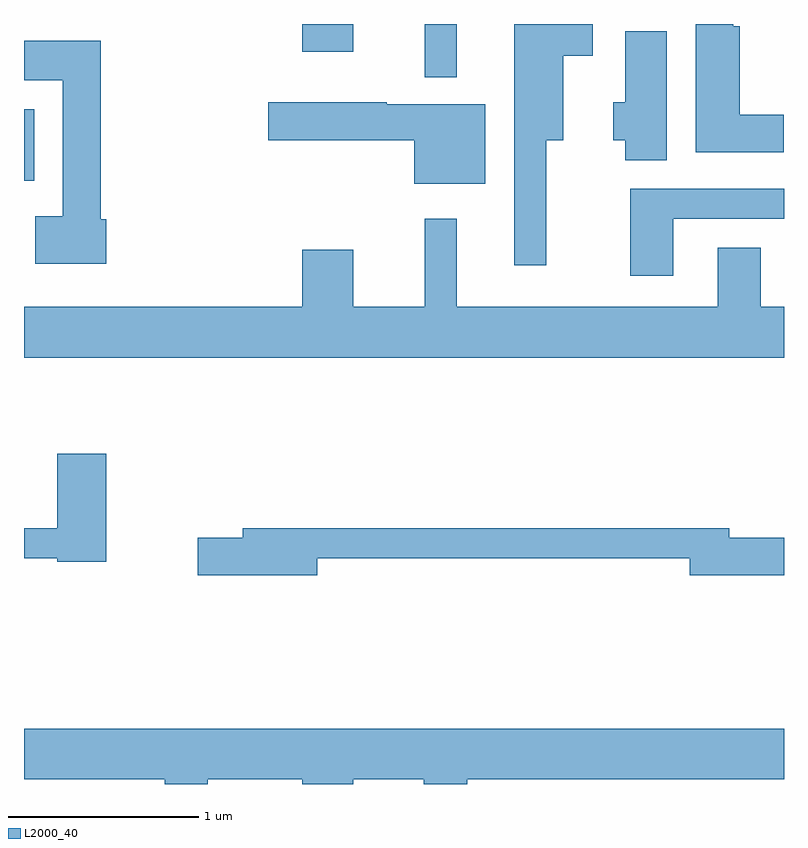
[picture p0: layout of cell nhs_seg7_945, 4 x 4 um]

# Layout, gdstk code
import gdstk
lib = gdstk.Library(unit=1e-6, precision=1e-09)
def R(c, l, rs):  # rectangles x0, y0, x1, y1
    for r in rs: c.add(gdstk.rectangle(r[:2], r[2:], *l))
def P(c, l, *ps):  # polygons
    for p in ps: c.add(gdstk.Polygon(p, *l))
L2000_40 = (2000, 40)

nhs_seg7_945 = lib.new_cell('nhs_seg7_945')
R(nhs_seg7_945, L2000_40, [(213.611,1757.426,213.664,1757.804), (215.721,1757.973,215.889,1758.252), (215.076,1758.106,215.344,1758.252)])
P(nhs_seg7_945, L2000_40, [(216.359,1757.641),(216.449,1757.641),(216.449,1758.086),(216.604,1758.086),(216.604,1758.252),(216.191,1758.252),(216.191,1756.983),(216.359,1756.983)],
  [(217.609,1757.774),(217.379,1757.774),(217.379,1758.239),(217.344,1758.239),(217.344,1758.252),(217.146,1758.252),(217.146,1757.576),(217.609,1757.576)],
  [(216.994,1758.214),(216.776,1758.214),(216.776,1757.839),(216.711,1757.839),(216.711,1757.641),(216.776,1757.641),(216.776,1757.536),(216.994,1757.536)],
  [(214.044,1757.224),(214.014,1757.224),(214.014,1758.164),(213.611,1758.164),(213.611,1757.956),(213.816,1757.956),(213.816,1757.239),(213.671,1757.239),(213.671,1756.991),(214.044,1756.991)],
  [(216.039,1757.829),(215.52,1757.829),(215.52,1757.839),(214.896,1757.839),(214.896,1757.641),(215.666,1757.641),(215.666,1757.411),(216.039,1757.411)],
  [(217.029,1757.226),(217.611,1757.226),(217.611,1757.384),(216.801,1757.384),(216.801,1756.926),(217.029,1756.926)],
  [(217.611,1756.764),(217.489,1756.764),(217.489,1757.074),(217.261,1757.074),(217.261,1756.764),(215.889,1756.764),(215.889,1757.228),(215.721,1757.228),(215.721,1756.764),(215.344,1756.764),(215.344,1757.064),(215.076,1757.064),(215.076,1756.764),(213.611,1756.764),(213.611,1756.496),(217.611,1756.496)],
  [(214.044,1755.989),(213.786,1755.989),(213.786,1755.599),(213.611,1755.599),(213.611,1755.441),(213.786,1755.441),(213.786,1755.421),(214.044,1755.421)],
  [(215.154,1755.441),(217.116,1755.441),(217.116,1755.351),(217.611,1755.351),(217.611,1755.549),(217.324,1755.549),(217.324,1755.599),(214.761,1755.599),(214.761,1755.549),(214.526,1755.549),(214.526,1755.351),(215.154,1755.351)],
  [(214.579,1754.276),(215.076,1754.276),(215.076,1754.252),(215.344,1754.252),(215.344,1754.276),(215.716,1754.276),(215.716,1754.252),(215.944,1754.252),(215.944,1754.276),(217.611,1754.276),(217.611,1754.544),(213.611,1754.544),(213.611,1754.276),(214.351,1754.276),(214.351,1754.252),(214.579,1754.252)])

lib.write_gds('nhs_seg7_945.gds')
